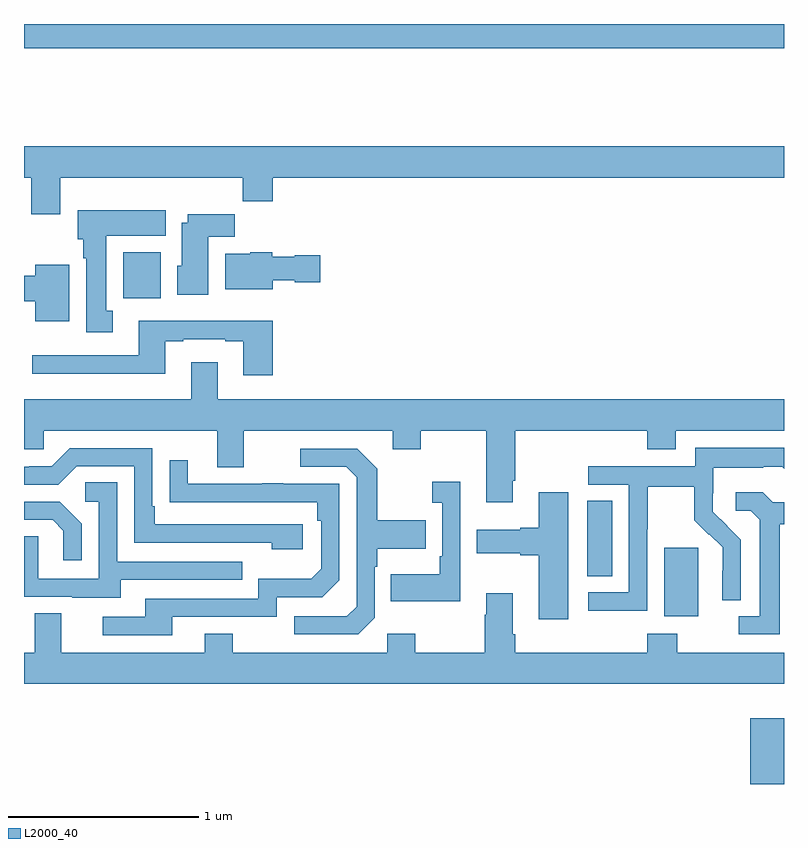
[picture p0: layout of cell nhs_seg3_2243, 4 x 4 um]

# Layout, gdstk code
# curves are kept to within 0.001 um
import gdstk
lib = gdstk.Library(unit=1e-6, precision=1e-09)
def R(c, l, rs):  # rectangles x0, y0, x1, y1
    for r in rs: c.add(gdstk.rectangle(r[:2], r[2:], *l))
def P(c, l, *ps):  # polygons
    for p in ps: c.add(gdstk.Polygon(p, *l))
L2000_40 = (2000, 40)

nhs_seg3_2243 = lib.new_cell('nhs_seg3_2243')
R(nhs_seg3_2243, L2000_40, [(230.822,688.4,231,688.747), (230.369,689.282,230.548,689.643), (229.964,689.494,230.095,689.891), (227.522,690.956,227.719,691.198), (227,692.272,231,692.4)])
P(nhs_seg3_2243, L2000_40, [(227.191,691.592),(228.151,691.592),(228.151,691.468),(228.308,691.468),(228.308,691.592),(231,691.592),(231,691.756),(227,691.756),(227,691.592),(227.039,691.592),(227.039,691.398),(227.191,691.398)],
  [(227.467,690.89),(227.434,690.89),(227.434,691.286),(227.746,691.286),(227.746,691.42),(227.282,691.42),(227.282,691.266),(227.312,691.266),(227.312,691.166),(227.327,691.166),(227.327,690.777),(227.467,690.777)],
  [(227.971,691.28),(228.11,691.28),(228.11,691.399),(227.861,691.399),(227.861,691.354),(227.831,691.354),(227.831,691.128),(227.807,691.128),(227.807,690.974),(227.971,690.974)],
  [(228.31,691.052),(228.426,691.052),(228.426,691.04),(228.559,691.04),(228.559,691.182),(228.426,691.182),(228.426,691.174),(228.306,691.174),(228.306,691.198),(228.192,691.198),(228.192,691.192),(228.059,691.192),(228.059,691.004),(228.31,691.004)],
  [(227.239,691.132),(227.06,691.132),(227.06,691.076),(227,691.076),(227,690.94),(227.06,690.94),(227.06,690.836),(227.239,690.836)],
  [(228.308,690.838),(227.603,690.838),(227.603,690.657),(227.043,690.657),(227.043,690.56),(227.743,690.56),(227.743,690.729),(227.839,690.729),(227.839,690.741),(228.059,690.741),(228.059,690.729),(228.155,690.729),(228.155,690.552),(228.308,690.552)],
  [(229.573,689.995),(229.586,689.995),(229.586,690.26),(230.279,690.26),(230.279,690.161),(230.431,690.161),(230.431,690.26),(231,690.26),(231,690.424),(228.019,690.424),(228.019,690.619),(227.879,690.619),(227.879,690.424),(227,690.424),(227,690.162),(227.103,690.162),(227.103,690.26),(228.017,690.26),(228.017,690.066),(228.157,690.066),(228.157,690.26),(228.941,690.26),(228.941,690.161),(229.089,690.161),(229.089,690.26),(229.433,690.26),(229.433,689.883),(229.573,689.883)],
  [(230.28,689.74),(230.283,689.74),(230.283,689.964),(230.527,689.964),(230.527,689.789),(230.604,689.712),(230.607,689.715),(230.678,689.645),(230.678,689.522),(230.676,689.522),(230.676,689.368),(230.772,689.368),(230.772,689.686),(230.626,689.834),(230.626,689.931),(230.628,689.931),(230.628,690.065),(230.891,690.065),(230.891,690.069),(230.991,690.069),(231,690.06),(231,690.169),(230.532,690.169),(230.532,690.072),(229.971,690.072),(229.971,689.976),(230.184,689.976),(230.184,689.409),(229.971,689.409),(229.971,689.311),(230.28,689.311)],
  [(228.466,689.766),(227.689,689.766),(227.689,689.863),(227.676,689.863),(227.676,690.168),(227.241,690.168),(227.145,690.072),(227.027,690.072),(227.027,690.069),(227,690.069),(227,689.976),(227.181,689.976),(227.277,690.072),(227.58,690.072),(227.58,689.67),(228.305,689.67),(228.305,689.636),(228.466,689.636)],
  [(228.846,689.274),(228.846,689.543),(228.859,689.543),(228.859,689.639),(229.115,689.639),(229.115,689.787),(228.859,689.787),(228.859,690.059),(228.753,690.165),(228.453,690.165),(228.453,690.069),(228.696,690.069),(228.75,690.015),(228.75,689.334),(228.699,689.283),(228.423,689.283),(228.423,689.187),(228.759,689.187)],
  [(227.779,689.28),(228.33,689.28),(228.33,689.382),(228.57,689.382),(228.66,689.472),(228.66,689.979),(228.365,689.979),(228.365,689.984),(228.253,689.984),(228.253,689.979),(227.863,689.979),(227.863,690.103),(227.767,690.103),(227.767,689.884),(228.544,689.883),(228.544,689.786),(228.564,689.786),(228.564,689.532),(228.511,689.479),(228.234,689.479),(228.234,689.376),(227.639,689.376),(227.639,689.28),(227.415,689.28),(227.415,689.184),(227.779,689.184)],
  [(229.296,689.992),(229.149,689.992),(229.149,689.879),(229.2,689.879),(229.2,689.599),(229.188,689.599),(229.188,689.503),(228.931,689.503),(228.931,689.363),(229.296,689.363)],
  [(227.509,689.475),(228.149,689.475),(228.149,689.571),(227.49,689.571),(227.49,689.987),(227.322,689.987),(227.322,689.886),(227.394,689.886),(227.394,689.481),(227.076,689.481),(227.076,689.705),(227,689.705),(227,689.385),(227.255,689.385),(227.255,689.381),(227.509,689.381)],
  [(230.977,689.768),(231,689.768),(231,689.883),(230.94,689.883),(230.888,689.935),(230.745,689.935),(230.745,689.838),(230.826,689.838),(230.873,689.791),(230.873,689.283),(230.763,689.283),(230.763,689.187),(230.977,689.187)],
  [(229.864,689.935),(229.709,689.935),(229.709,689.75),(229.613,689.75),(229.613,689.737),(229.383,689.737),(229.383,689.615),(229.613,689.615),(229.613,689.603),(229.709,689.603),(229.709,689.268),(229.864,689.268)],
  [(227.304,689.77),(227.188,689.886),(227,689.886),(227,689.79),(227.15,689.79),(227.207,689.733),(227.207,689.577),(227.304,689.577)],
  [(231,689.092),(230.439,689.092),(230.439,689.191),(230.279,689.191),(230.279,689.092),(229.586,689.092),(229.586,689.188),(229.573,689.188),(229.573,689.404),(229.433,689.404),(229.433,689.291),(229.426,689.291),(229.426,689.092),(229.059,689.092),(229.059,689.191),(228.912,689.191),(228.912,689.092),(228.099,689.092),(228.099,689.191),(227.951,689.191),(227.951,689.092),(227.197,689.092),(227.197,689.3),(227.057,689.3),(227.057,689.092),(227,689.092),(227,688.928),(231,688.928)])

lib.write_gds('nhs_seg3_2243.gds')
